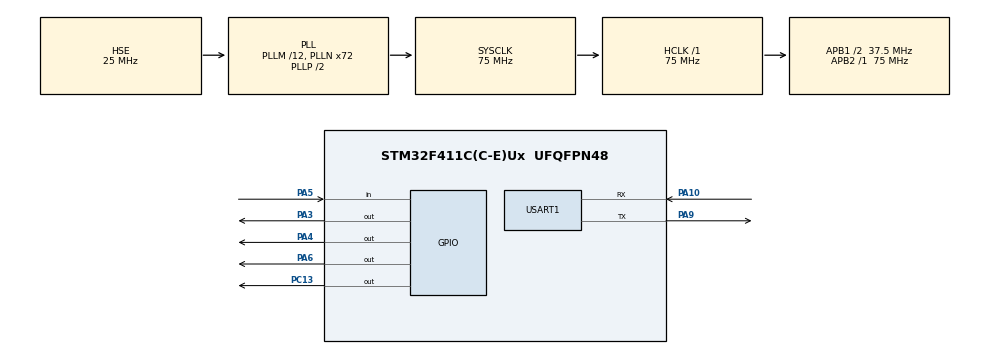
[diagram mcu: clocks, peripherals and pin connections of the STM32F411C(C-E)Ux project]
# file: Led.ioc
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Mcu.Family=STM32F4
Mcu.Name=STM32F411C(C-E)Ux
Mcu.Package=UFQFPN48
NVIC.PriorityGroup=NVIC_PRIORITYGROUP_4
PA10.Mode=Asynchronous
PA10.Signal=USART1_RX
PA13.Mode=Serial_Wire
PA13.Signal=SYS_JTMS-SWDIO
PA14.Mode=Serial_Wire
PA14.Signal=SYS_JTCK-SWCLK
PA3.PinState=GPIO_PIN_SET
PA3.Signal=GPIO_Output
PA4.PinState=GPIO_PIN_SET
PA4.Signal=GPIO_Output
PA5.GPIO_PuPd=GPIO_PULLUP
PA5.Signal=GPIO_Input
PA6.PinState=GPIO_PIN_SET
PA6.Signal=GPIO_Output
PA9.Mode=Asynchronous
PA9.Signal=USART1_TX
PC13-ANTI_TAMP.PinState=GPIO_PIN_SET
PC13-ANTI_TAMP.Signal=GPIO_Output
PH0\ -\ OSC_IN.Mode=HSE-External-Oscillator
PH0\ -\ OSC_IN.Signal=RCC_OSC_IN
PH1\ -\ OSC_OUT.Mode=HSE-External-Oscillator
PH1\ -\ OSC_OUT.Signal=RCC_OSC_OUT
ProjectManager.HeapSize=0x200
ProjectManager.StackSize=0x400
ProjectManager.TargetToolchain=MDK-ARM V5.27
RCC.48MHZClocksFreq_Value=37500000
RCC.AHBFreq_Value=75000000
RCC.APB1CLKDivider=RCC_HCLK_DIV2
RCC.APB1Freq_Value=37500000
RCC.APB1TimFreq_Value=75000000
RCC.APB2Freq_Value=75000000
RCC.APB2TimFreq_Value=75000000
RCC.CortexFreq_Value=75000000
RCC.HCLKFreq_Value=75000000
RCC.HSE_VALUE=25000000
RCC.HSI_VALUE=16000000
RCC.LSE_VALUE=32768
RCC.PLLM=12
RCC.PLLN=72
RCC.PLLSourceVirtual=RCC_PLLSOURCE_HSE
RCC.SYSCLKFreq_VALUE=75000000
RCC.SYSCLKSource=RCC_SYSCLKSOURCE_PLLCLK
RCC.VCOOutputFreq_Value=150000000
USART1.VirtualMode=VM_ASYNC
board=custom

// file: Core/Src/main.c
/* USER CODE BEGIN Header */
/**
  ******************************************************************************
  * @file           : main.c
  * @brief          : Main program body
  ******************************************************************************
  * @attention
  *
  * <h2><center>&copy; Copyright (c) 2026 STMicroelectronics.
  * All rights reserved.</center></h2>
  *
  * This software component is licensed by ST under BSD 3-Clause license,
  * the "License"; You may not use this file except in compliance with the
  * License. You may obtain a copy of the License at:
  *                        opensource.org/licenses/BSD-3-Clause
  *
  ******************************************************************************
  */
/* USER CODE END Header */
#include "main.h"

/* USER CODE BEGIN Includes */
#include "led_effect.h"
#include "button.h"   // Thêm thu vi?n nút nh?n m?i vào dây
/* USER CODE END Includes */

UART_HandleTypeDef huart1;

/* USER CODE BEGIN PV */
uint8_t sta_button = 1; // Khai báo chính th?c bi?n sta_button ? dây
uint8_t count = 0;      // Thêm luôn bi?n count n?u b?n có dùng extern ? file khác
// Khai báo các d?i tu?ng nút nh?n
Button_t button_mode;
Button_t button_speed;
/* USER CODE END PV */

void SystemClock_Config(void);
static void MX_GPIO_Init(void);
static void MX_USART1_UART_Init(void);
/* USER CODE BEGIN PFP */
// Khai báo các hàm callback x? lý s? ki?n riêng cho t?ng nút
void mode_pressing_handler(void);
void speed_pressing_handler(void);
/* USER CODE END PFP */

int main(void)
{

  /* MCU Configuration--------------------------------------------------------*/

  /* Reset of all peripherals, Initializes the Flash interface and the Systick. */
  HAL_Init();

  /* Configure the system clock */
  SystemClock_Config();

  /* Initialize all configured peripherals */
  MX_GPIO_Init();
  MX_USART1_UART_Init();
  /* USER CODE BEGIN 2 */
  LED_Chase_Init(1000); // G??i hàm kh?i t?o hi?u ?ng c?a b?n (n?u có)
	// Kh?i t?o nút s? 1 ? chân PA5
  Button_Init(&button_mode, GPIOA, GPIO_PIN_5);
  Button_Register_Callback(&button_mode, mode_pressing_handler, NULL, NULL, NULL);

  // Kh?i t?o nút s? 2 ? chân PA7 (ví d? b?n g?n thêm nút)
  Button_Init(&button_speed, GPIOA, GPIO_PIN_7);
  Button_Register_Callback(&button_speed, speed_pressing_handler, NULL, NULL, NULL);
  /* USER CODE END 2 */

  /* Infinite loop */
  while (1)
  {

    /* USER CODE BEGIN 3 */
	  LED_Chase_Execute(); // G??i duy nh?t hàm th?c thi thu?t toán ? dây!
		led_handle();
		// Quét liên t?c tr?ng thái c?a c? 2 nút nh?n
      Button_Process(&button_mode);
      Button_Process(&button_speed);
  }
  /* USER CODE END 3 */
}

void SystemClock_Config(void)
{
  RCC_OscInitTypeDef RCC_OscInitStruct = {0};
  RCC_ClkInitTypeDef RCC_ClkInitStruct = {0};

  /** Configure the main internal regulator output voltage
  */
  __HAL_RCC_PWR_CLK_ENABLE();
  __HAL_PWR_VOLTAGESCALING_CONFIG(PWR_REGULATOR_VOLTAGE_SCALE1);
  /** Initializes the RCC Oscillators according to the specified parameters
  * in the RCC_OscInitTypeDef structure.
  */
  RCC_OscInitStruct.OscillatorType = RCC_OSCILLATORTYPE_HSE;
  RCC_OscInitStruct.HSEState = RCC_HSE_ON;
  RCC_OscInitStruct.PLL.PLLState = RCC_PLL_ON;
  RCC_OscInitStruct.PLL.PLLSource = RCC_PLLSOURCE_HSE;
  RCC_OscInitStruct.PLL.PLLM = 12;
  RCC_OscInitStruct.PLL.PLLN = 72;
  RCC_OscInitStruct.PLL.PLLP = RCC_PLLP_DIV2;
  RCC_OscInitStruct.PLL.PLLQ = 4;
  if (HAL_RCC_OscConfig(&RCC_OscInitStruct) != HAL_OK)
  {
    Error_Handler();
  }
  /** Initializes the CPU, AHB and APB buses clocks
  */
  RCC_ClkInitStruct.ClockType = RCC_CLOCKTYPE_HCLK|RCC_CLOCKTYPE_SYSCLK
                              |RCC_CLOCKTYPE_PCLK1|RCC_CLOCKTYPE_PCLK2;
  RCC_ClkInitStruct.SYSCLKSource = RCC_SYSCLKSOURCE_PLLCLK;
  RCC_ClkInitStruct.AHBCLKDivider = RCC_SYSCLK_DIV1;
  RCC_ClkInitStruct.APB1CLKDivider = RCC_HCLK_DIV2;
  RCC_ClkInitStruct.APB2CLKDivider = RCC_HCLK_DIV1;

  if (HAL_RCC_ClockConfig(&RCC_ClkInitStruct, FLASH_LATENCY_2) != HAL_OK)
  {
    Error_Handler();
  }
}

static void MX_USART1_UART_Init(void)
{

  huart1.Instance = USART1;
  huart1.Init.BaudRate = 115200;
  huart1.Init.WordLength = UART_WORDLENGTH_8B;
  huart1.Init.StopBits = UART_STOPBITS_1;
  huart1.Init.Parity = UART_PARITY_NONE;
  huart1.Init.Mode = UART_MODE_TX_RX;
  huart1.Init.HwFlowCtl = UART_HWCONTROL_NONE;
  huart1.Init.OverSampling = UART_OVERSAMPLING_16;
  if (HAL_UART_Init(&huart1) != HAL_OK)
  {
    Error_Handler();
  }

}

static void MX_GPIO_Init(void)
{
  GPIO_InitTypeDef GPIO_InitStruct = {0};

  /* GPIO Ports Clock Enable */
  __HAL_RCC_GPIOC_CLK_ENABLE();
  __HAL_RCC_GPIOH_CLK_ENABLE();
  __HAL_RCC_GPIOA_CLK_ENABLE();

  /*Configure GPIO pin Output Level */
  HAL_GPIO_WritePin(GPIOC, GPIO_PIN_13, GPIO_PIN_SET);

  /*Configure GPIO pin Output Level */
  HAL_GPIO_WritePin(GPIOA, GPIO_PIN_3|GPIO_PIN_4|GPIO_PIN_6, GPIO_PIN_SET);

  /*Configure GPIO pin : PC13 */
  GPIO_InitStruct.Pin = GPIO_PIN_13;
  GPIO_InitStruct.Mode = GPIO_MODE_OUTPUT_PP;
  GPIO_InitStruct.Pull = GPIO_NOPULL;
  GPIO_InitStruct.Speed = GPIO_SPEED_FREQ_LOW;
  HAL_GPIO_Init(GPIOC, &GPIO_InitStruct);

  /*Configure GPIO pins : PA3 PA4 PA6 */
  GPIO_InitStruct.Pin = GPIO_PIN_3|GPIO_PIN_4|GPIO_PIN_6;
  GPIO_InitStruct.Mode = GPIO_MODE_OUTPUT_PP;
  GPIO_InitStruct.Pull = GPIO_NOPULL;
  GPIO_InitStruct.Speed = GPIO_SPEED_FREQ_LOW;
  HAL_GPIO_Init(GPIOA, &GPIO_InitStruct);

  /*Configure GPIO pin : PA5 */
  GPIO_InitStruct.Pin = GPIO_PIN_5;
  GPIO_InitStruct.Mode = GPIO_MODE_INPUT;
  GPIO_InitStruct.Pull = GPIO_PULLUP;
  HAL_GPIO_Init(GPIOA, &GPIO_InitStruct);

}

/* USER CODE BEGIN 4 */
// Callback c?a nút mode (PA5) - Chuy?n d?i tr?ng thái blink
void mode_pressing_handler(void) {
    switch(led_status) {
        case LED_OFF:         led_status = LED1_BLINK_1HZ; break;
        case LED1_BLINK_1HZ:  led_status = LED2_BLINK_5HZ; break;
        case LED2_BLINK_5HZ:  led_status = LED_OFF;        break;
    }
}

// Callback c?a nút speed (PA7) - Thay d?i t?c d? ch?ng h?n
void speed_pressing_handler(void) {
    // Logic x? lý khi nút speed du?c nh?n
}
/* USER CODE END 4 */

void Error_Handler(void)
{
  __disable_irq();
  while (1)
  {
  }
}

/************************ (C) COPYRIGHT STMicroelectronics *****END OF FILE****/
